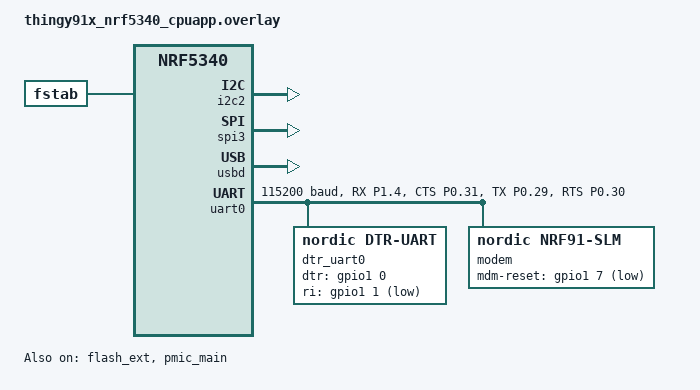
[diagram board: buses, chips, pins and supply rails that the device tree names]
/* Copyright (c) 2026 Nordic Semiconductor ASA
 *
 * SPDX-License-Identifier: LicenseRef-Nordic-5-Clause
 */

&i2c2 {
	status = "okay";
};

&spi3 {
	status = "okay";
};

/ {
	chosen {
		zephyr,wifi = &nordic_wlan0;
		nordic,memfault-coredump-partition = &storage_partition;
	};
};

/* Enable short range RF */
&ldsw_rf_fe_sr_en {
	/delete-property/ output-low;
	output-high;
};

&flash_ext {
	status = "okay";
};

&pmic_main {
	status = "okay";

	npm1300_gpios {
		status = "okay";
	};

	regulators {
		status = "okay";
	};

	charger {
		status = "okay";
	};
};


/delete-node/ &boot_partition;
/delete-node/ &slot0_partition;
/delete-node/ &slot1_partition;
/delete-node/ &storage_partition;

&flash0 {
	partitions {
		ranges;
		#address-cells = <1>;
		#size-cells = <1>;

		b0_partition: partition@0 {
			compatible = "zephyr,mapped-partition";
			label = "b0";
			reg = <0x0 DT_SIZE_K(32)>;
		};

		s0_partition: partition@8000 {
			compatible = "zephyr,mapped-partition";
			label = "b0-image-0";
			reg = <0x8000 DT_SIZE_K(80)>;
		};

		s1_partition: partition@1c000 {
			compatible = "zephyr,mapped-partition";
			label = "b0-image-1";
			reg = <0x1c000 DT_SIZE_K(80)>;
		};

		slot0_partition: partition@30000 {
			compatible = "zephyr,mapped-partition";
			label = "image-0";
			reg = <0x30000 DT_SIZE_K(704)>;
		};

		storage_partition: partition@e0000 {
			compatible = "zephyr,mapped-partition";
			label = "storage";
			reg = <0xe0000 DT_SIZE_K(128)>;
		};
	};
};

/* MCUboot secondary slot in external flash */
&flash_ext {
	partitions {
		compatible = "fixed-partitions";
		#address-cells = <1>;
		#size-cells = <1>;

		slot1_partition: partition@0 {
			label = "image-1";
			reg = <0x0 DT_SIZE_K(704)>;
		};

		slot3_partition: partition@cc000 {
			label = "image-3";
			reg = <0xcc000 DT_SIZE_K(256)>;
		};

		/* OTA bundle storage (LittleFS), 4 MB: a 3 MB bundle plus filesystem overhead */
		ota_partition: partition@110000 {
			label = "ota";
			reg = <0x110000 DT_SIZE_M(4)>;
		};
	};
};

/ {
	fstab {
		compatible = "zephyr,fstab";

		ota_fs: ota {
			compatible = "zephyr,fstab,littlefs";
			mount-point = "/ota";
			partition = <&ota_partition>;
			read-size = <16>;
			prog-size = <16>;
			cache-size = <256>;
			lookahead-size = <128>;
			block-cycles = <512>;
			automount;
		};
	};
};

&usbd {
	compatible = "nordic,nrf-usbd";
	status = "okay";
};

/ {
	chosen {
		zephyr,console = &cdc_acm_uart0;
		zephyr,shell-uart = &cdc_acm_uart0;
		zephyr,uart-mcumgr = &cdc_acm_uart0;
		zephyr,bt-mon-uart = &cdc_acm_uart0;
		zephyr,bt-c2h-uart = &cdc_acm_uart0;
	};
};

&rtt0 {
	status = "disabled";
};

&uart0 {
	compatible = "nordic,nrf-uarte";
	current-speed = <115200>;
	hw-flow-control;
	status = "okay";

	dtr_uart0: dtr-uart {
		compatible = "nordic,dtr-uart";
		dtr-gpios = <&gpio1 0 (GPIO_PULL_UP | GPIO_ACTIVE_HIGH)>; /* shared GPIO3 */
		ri-gpios = <&gpio1 1 GPIO_ACTIVE_LOW>; /* shared GPIO4 */
		status = "okay";
	};
	pinctrl-0 = <&uart0_default_t91x>;
	pinctrl-1 = <&uart0_sleep_t91x>;
	pinctrl-names = "default", "sleep";

	zephyr,pm-device-runtime-auto;

	modem: modem {
		compatible = "nordic,nrf91-slm";
		status = "okay";
		mdm-reset-gpios = <&gpio1 7 (GPIO_ACTIVE_LOW | GPIO_OPEN_DRAIN)>;
		zephyr,pm-device-runtime-auto;
		autostarts;
	};
};

/ {
	aliases {
		modem-uart = &uart0;
		modem = &modem;
	};
};

&pinctrl {
	uart0_default_t91x: uart0_default_t91x {
		group1 {
			psels = <NRF_PSEL(UART_RX, 1, 4)>, /* default t91x UART0_RX */
				<NRF_PSEL(UART_CTS, 0, 31)>; /* shared GPIO2 */
			bias-pull-up;
		};
		group2 {
			psels = <NRF_PSEL(UART_TX, 0, 29)>, /* default t91x UART0_TX */
				<NRF_PSEL(UART_RTS, 0, 30)>; /* shared GPIO1 */
		};
	};

	uart0_sleep_t91x: uart0_sleep_t91x {
		group1 {
			psels = <NRF_PSEL(UART_TX, 0, 29)>,
				<NRF_PSEL(UART_RX, 1, 4)>,
				<NRF_PSEL(UART_RTS, 0, 30)>,
				<NRF_PSEL(UART_CTS, 0, 31)>;
			low-power-enable;
		};
	};
};
